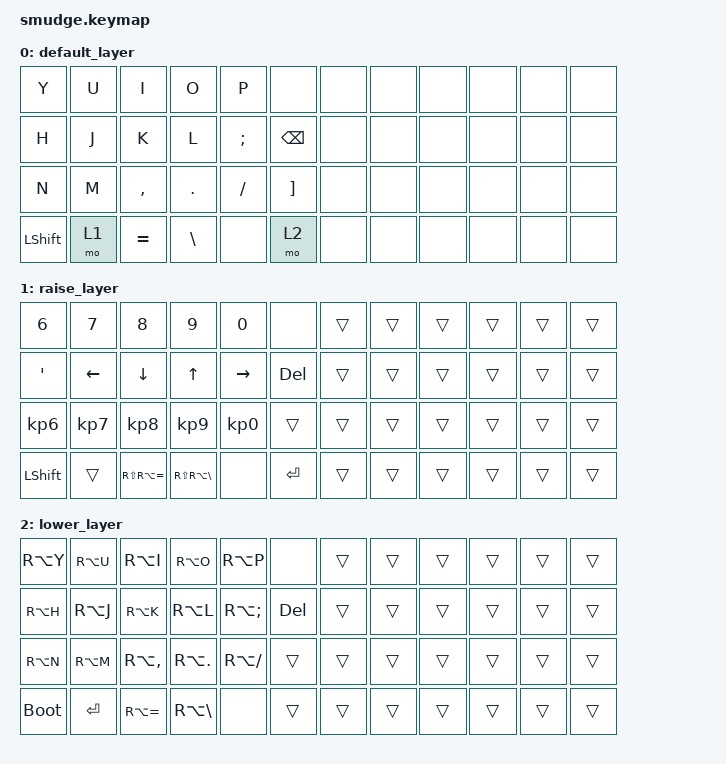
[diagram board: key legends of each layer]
#include <behaviors.dtsi>
#include <dt-bindings/zmk/keys.h>
#include <dt-bindings/zmk/bt.h>

/ {
    behaviors {
        td0: tap_dance_0 {
            compatible = "zmk,behavior-tap-dance";
            label = "TAP_DANCE_0";
            #binding-cells = <0>;
            tapping-term-ms = <200>;
            bindings = <&kp LSHFT>, <&kp CAPS>;
        };
    };

    keymap {
        compatible = "zmk,keymap";

        default_layer {
            bindings = <
   &kp Y      &kp U        &kp I             &kp O             &kp P      &none           &none  &none  &none  &none  &none  &none
   &kp H      &kp J        &kp K             &kp L             &kp SEMI   &kp BSPC        &none  &none  &none  &none  &none  &none
   &kp N      &kp M        &kp COMMA         &kp DOT           &kp FSLH   &kp RBKT        &none  &none  &none  &none  &none  &none
   &kp LSHFT  &mo 1        &kp EQUAL         &kp BSLH          &none      &mo 2           &none  &none  &none  &none  &none  &none
            >;
        };

        raise_layer {
            bindings = <
   &kp N6     &kp N7      &kp N8             &kp N9            &kp N0     &none         &trans &trans &trans &trans &trans &trans
   &kp SQT    &kp LEFT    &kp DOWN           &kp UP            &kp RIGHT  &kp DEL       &trans &trans &trans &trans &trans &trans
   &kp KP_N6  &kp KP_N7   &kp KP_N8          &kp KP_N9         &kp KP_N0  &trans        &trans &trans &trans &trans &trans &trans
   &kp LSHFT  &trans      &kp RS(RA(EQUAL))  &kp RS(RA(BSLH))  &none      &kp RET       &trans &trans &trans &trans &trans &trans
            >;
        };

        lower_layer {
            bindings = <
   &kp RA(Y)    &kp RA(U)  &kp RA(I)      &kp RA(O)    &kp RA(P)     &none           &trans &trans &trans &trans &trans &trans
   &kp RA(H)    &kp RA(J)  &kp RA(K)      &kp RA(L)    &kp RA(SEMI)  &kp DEL         &trans &trans &trans &trans &trans &trans
   &kp RA(N)    &kp RA(M)  &kp RA(COMMA)  &kp RA(DOT)  &kp RA(FSLH)  &trans          &trans &trans &trans &trans &trans &trans
   &bootloader  &kp RET    &kp RA(EQUAL)  &kp RA(BSLH) &none         &trans          &trans &trans &trans &trans &trans &trans
            >;
        };
    };
};
